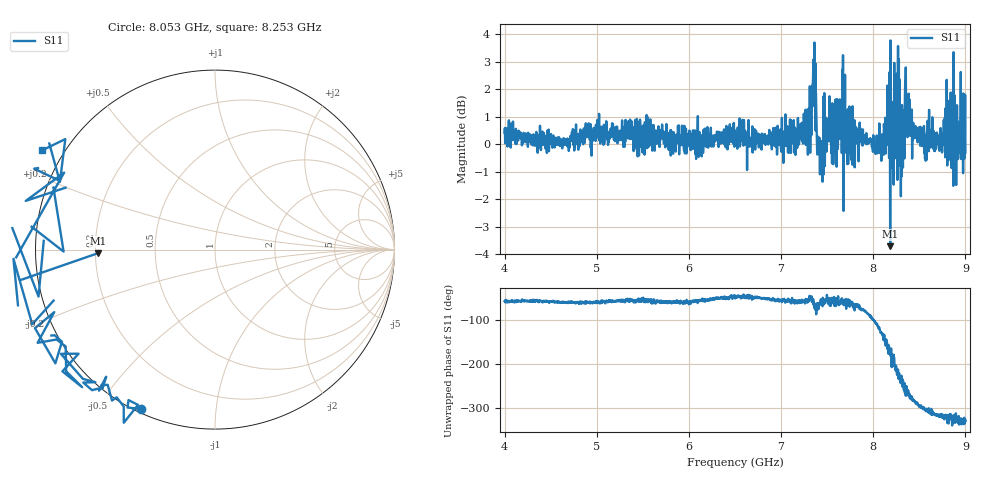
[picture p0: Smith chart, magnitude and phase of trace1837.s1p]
! Created with skrf 1.8.0 (http://scikit-rf.org).
# Hz S RI R 50.0
!freq ReS11 ImS11
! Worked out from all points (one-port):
!   1601 points, 4 GHz to 9 GHz, reference 50 ohm
!   lowest |S11| = -3.7 dB at 8.184 GHz (marker M1), VSWR 4.75, Z = 10.5 - j0.729 ohm
!   |S11| at or under -10 dB: nowhere
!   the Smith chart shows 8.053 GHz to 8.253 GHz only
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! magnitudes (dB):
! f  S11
! 4 GHz  0.4
! 4.625 GHz  -0.2
! 5.25 GHz  0.3
! 5.875 GHz  0.2
! 6.5 GHz  0.1
! 7.125 GHz  0.2
! 7.294 GHz  0.3
! 7.356 GHz  3.0
! 7.4 GHz  0.3
! 7.431 GHz  0.0
! 7.512 GHz  0.7
! 7.619 GHz  0.6
! 7.65 GHz  1.1
! 7.75 GHz  -0.2
! 8.038 GHz  0.3
! 8.156 GHz  1.7
! 8.184 GHz  -3.7
! 8.209 GHz  0.7
! 8.259 GHz  2.3
! 8.316 GHz  0.6
! 8.334 GHz  1.0
! 8.375 GHz  0.8
! 8.425 GHz  0.5
! 8.556 GHz  -0.3
! 8.822 GHz  0.5
! 8.919 GHz  -0.5
! 8.959 GHz  1.7
! 9 GHz  -0.3
